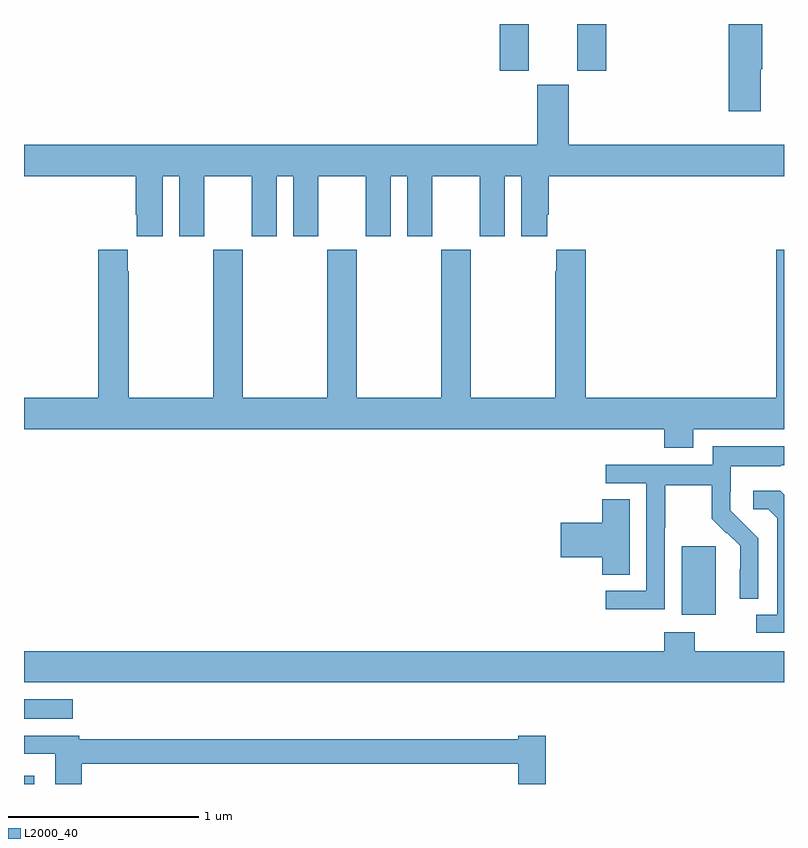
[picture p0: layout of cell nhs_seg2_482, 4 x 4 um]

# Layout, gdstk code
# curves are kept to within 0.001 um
import gdstk
lib = gdstk.Library(unit=1e-6, precision=1e-09)
def R(c, l, rs):  # rectangles x0, y0, x1, y1
    for r in rs: c.add(gdstk.rectangle(r[:2], r[2:], *l))
def P(c, l, *ps):  # polygons
    for p in ps: c.add(gdstk.Polygon(p, *l))
L2000_40 = (2000, 40)

nhs_seg2_482 = lib.new_cell('nhs_seg2_482')
R(nhs_seg2_482, L2000_40, [(135,613.8,135.055,613.843), (135,614.144,135.256,614.245), (138.461,614.69,138.64,615.051), (137.504,617.553,137.656,617.8), (137.912,617.553,138.065,617.8)])
P(nhs_seg2_482, L2000_40, [(138.877,617.563),(138.885,617.563),(138.885,617.8),(138.71,617.8),(138.71,617.34),(138.877,617.34)],
  [(135.73,617),(135.818,617),(135.818,616.683),(135.949,616.683),(135.949,617),(136.199,617),(136.199,616.683),(136.33,616.683),(136.33,617),(136.418,617),(136.418,616.683),(136.549,616.683),(136.549,617),(136.799,617),(136.799,616.683),(136.93,616.683),(136.93,617),(137.018,617),(137.018,616.683),(137.149,616.683),(137.149,617),(137.399,617),(137.399,616.683),(137.53,616.683),(137.53,617),(137.618,617),(137.618,616.683),(137.755,616.683),(137.755,616.795),(137.762,616.795),(137.762,617),(139,617),(139,617.164),(137.866,617.164),(137.866,617.481),(137.702,617.481),(137.702,617.164),(135,617.164),(135,617),(135.587,617),(135.587,616.795),(135.593,616.795),(135.593,616.683),(135.73,616.683)],
  [(138.523,615.668),(139,615.668),(139,616.612),(138.959,616.612),(138.959,615.832),(137.957,615.832),(137.957,616.612),(137.801,616.612),(137.801,616.499),(137.797,616.499),(137.797,615.832),(137.352,615.832),(137.352,616.612),(137.197,616.612),(137.197,615.832),(136.752,615.832),(136.752,616.612),(136.597,616.612),(136.597,615.832),(136.152,615.832),(136.152,616.612),(135.997,616.612),(135.997,615.832),(135.552,615.832),(135.552,616.499),(135.547,616.499),(135.547,616.612),(135.392,616.612),(135.392,615.832),(135,615.832),(135,615.668),(138.371,615.668),(138.371,615.569),(138.523,615.569)],
  [(138.372,615.148),(138.375,615.148),(138.375,615.372),(138.619,615.372),(138.619,615.197),(138.696,615.12),(138.699,615.123),(138.77,615.053),(138.77,614.93),(138.768,614.93),(138.768,614.776),(138.864,614.776),(138.864,615.094),(138.718,615.242),(138.718,615.339),(138.72,615.339),(138.72,615.473),(138.983,615.473),(138.983,615.477),(139,615.477),(139,615.577),(138.624,615.577),(138.624,615.48),(138.063,615.48),(138.063,615.384),(138.276,615.384),(138.276,614.817),(138.063,614.817),(138.063,614.719),(138.372,614.719)],
  [(139,615.323),(138.98,615.343),(138.837,615.343),(138.837,615.246),(138.918,615.246),(138.965,615.199),(138.965,614.691),(138.855,614.691),(138.855,614.595),(139,614.595)],
  [(138.187,615.299),(138.044,615.299),(138.044,615.176),(137.826,615.176),(137.826,614.993),(138.044,614.993),(138.044,614.902),(138.187,614.902)],
  [(139,614.5),(138.531,614.5),(138.531,614.599),(138.371,614.599),(138.371,614.5),(135,614.5),(135,614.336),(139,614.336)],
  [(135.305,613.906),(137.6,613.906),(137.6,613.8),(137.747,613.8),(137.747,614.053),(137.6,614.053),(137.6,614.035),(135.292,614.035),(135.292,614.055),(135,614.055),(135,613.959),(135.165,613.959),(135.165,613.8),(135.305,613.8)])

lib.write_gds('nhs_seg2_482.gds')
